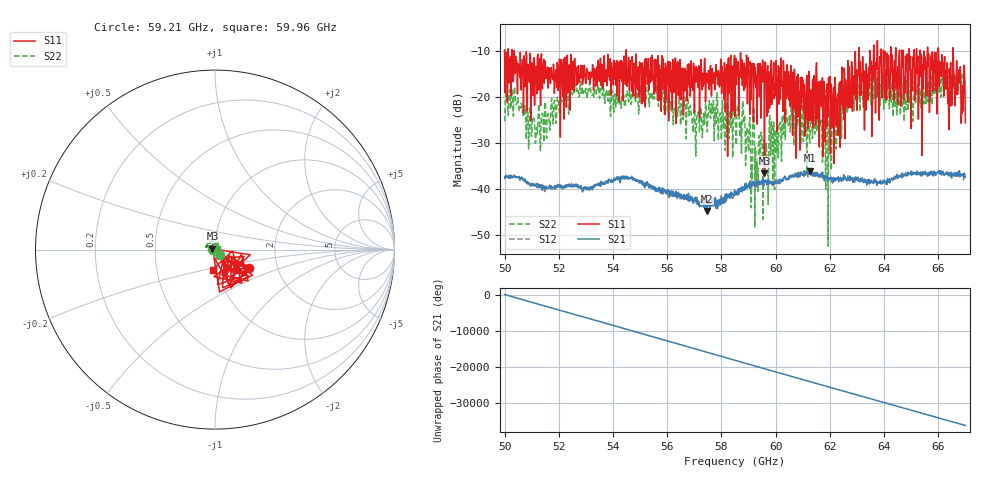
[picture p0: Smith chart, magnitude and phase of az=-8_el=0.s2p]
!Created with skrf (http://scikit-rf.org).
# GHz S RI R 50.0
!freq ReS11 ImS11 ReS21 ImS21 ReS12 ImS12 ReS22 ImS22
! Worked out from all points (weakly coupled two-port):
!   1001 points, 50 GHz to 67 GHz, reference 50 ohm
!   highest |S21| = -35.93 dB at 61.27 GHz (marker M1); lowest = -44.7 dB at 57.46 GHz (marker M2)
!   lowest |S11| = -36.6 dB at 59.59 GHz (marker M3), VSWR 1.03, Z = 48.6 + j0.452 ohm
!   |S11| at or under -10 dB: 50.36 GHz to 54.49 GHz (4.129 GHz wide, 7.88 % of centre); 54.49 GHz to 63.07 GHz (8.581 GHz wide, 14.6 % of centre); 66 GHz to 66.54 GHz (533.9 MHz wide, 0.806 % of centre) (the widest 3 of 24)
!   |S22| runs from -52.4 to -13.9 dB; largest |S21 - S12| = 0.0025
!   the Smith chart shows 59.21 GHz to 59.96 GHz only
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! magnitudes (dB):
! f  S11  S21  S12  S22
! 50 GHz  -9.7  -37.7  -37.4  -25.3
! 50.42 GHz  -13.3  -37.4  -37.1  -21.6
! 51.38 GHz  -16.4  -39.3  -39.3  -24.2
! 52.84 GHz  -14.0  -40.0  -39.7  -19.5
! 55.68 GHz  -13.5  -39.8  -40.1  -22.0
! 56.99 GHz  -14.9  -42.2  -42.1  -21.8
! 57.46 GHz  -15.4  -44.7  -42.3  -26.9
! 58.5 GHz  -24.1  -41.1  -40.4  -24.6
! 58.79 GHz  -13.9  -39.5  -39.6  -20.8
! 59.3 GHz  -15.6  -38.3  -38.3  -38.8
! 59.44 GHz  -12.7  -38.5  -38.5  -30.8
! 59.59 GHz  -36.6  -38.2  -38.1  -30.8
! 60.64 GHz  -14.6  -37.1  -37.0  -22.2
! 61.27 GHz  -18.4  -35.9  -36.9  -27.7
! 61.34 GHz  -24.8  -36.9  -36.9  -26.0
! 62 GHz  -15.5  -37.8  -37.8  -25.0
! 62.6 GHz  -19.7  -37.9  -37.8  -19.1
! 64.18 GHz  -17.7  -37.9  -38.0  -18.9
! 66.08 GHz  -14.9  -36.0  -36.1  -15.6
! 66.42 GHz  -15.5  -37.1  -36.9  -16.3
! 66.75 GHz  -16.5  -36.2  -37.1  -18.4
! 67 GHz  -25.6  -37.4  -36.9  -15.7
